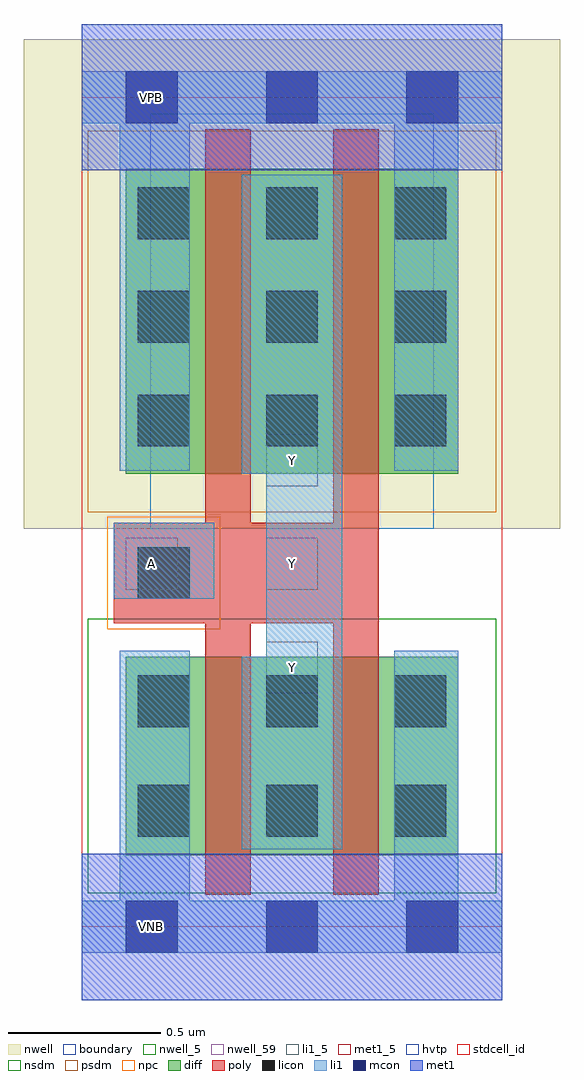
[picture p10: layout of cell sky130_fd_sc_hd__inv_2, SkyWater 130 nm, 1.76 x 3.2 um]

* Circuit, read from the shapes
.subckt sky130_fd_sc_hd__inv_2 A VGND VNB VPB VPWR Y
XM1 Y A VGND VNB sky130_fd_pr__nfet_01v8 w=0.65 l=0.15 m=2
XM2 Y A VPWR VPB sky130_fd_pr__pfet_01v8_hvt w=1 l=0.15 m=2
.ends

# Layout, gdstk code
import gdstk
lib = gdstk.Library(unit=1e-6, precision=1e-09)
def R(c, l, rs):  # rectangles x0, y0, x1, y1
    for r in rs: c.add(gdstk.rectangle(r[:2], r[2:], *l))
def A(c, l, x, y, w, h, nx, ny, dx, dy):  # array of equal rectangles
    R(c, l, [(x+i*dx, y+j*dy, x+i*dx+w, y+j*dy+h) for i in range(nx) for j in range(ny)])
nwell_5 = (64, 5)
nwell = (64, 20)
nwell_59 = (64, 59)
diff = (65, 20)
poly = (66, 20)
licon = (66, 44)
li1_5 = (67, 5)
li1 = (67, 20)
mcon = (67, 44)
met1_5 = (68, 5)
met1 = (68, 20)
hvtp = (78, 44)
stdcell_id = (81, 4)
nsdm = (93, 44)
psdm = (94, 20)
npc = (95, 20)
boundary = (235, 4)

sky130_fd_sc_hd__inv_2 = lib.new_cell('sky130_fd_sc_hd__inv_2')
R(sky130_fd_sc_hd__inv_2, nwell_5, [(0.145,2.635,0.315,2.805)])
R(sky130_fd_sc_hd__inv_2, nwell, [(-0.19,1.305,1.57,2.91)])
R(sky130_fd_sc_hd__inv_2, nwell_59, [(0.145,-0.085,0.315,0.085)])
R(sky130_fd_sc_hd__inv_2, diff, [(0.145,0.235,1.235,0.885), (0.145,1.485,1.235,2.485)])
R(sky130_fd_sc_hd__inv_2, poly, [(0.405,0.105,0.555,0.995), (0.825,0.105,0.975,0.995), (0.105,0.995,0.975,1.325), (0.405,1.325,0.555,2.615), (0.825,1.325,0.975,2.615)])
A(sky130_fd_sc_hd__inv_2, licon, 0.185, 0.295, 0.17, 0.17, 3, 2, 0.42, 0.36)
A(sky130_fd_sc_hd__inv_2, licon, 0.185, 1.575, 0.17, 0.17, 3, 3, 0.42, 0.34)
R(sky130_fd_sc_hd__inv_2, licon, [(0.185,1.075,0.355,1.245)])
A(sky130_fd_sc_hd__inv_2, li1_5, 0.605, 0.765, 0.17, 0.17, 1, 3, 0, 0.34)
R(sky130_fd_sc_hd__inv_2, li1_5, [(0.145,1.105,0.315,1.275)])
R(sky130_fd_sc_hd__inv_2, li1, [(0,-0.085,1.38,0.085), (0.125,0.085,0.355,0.905), (1.025,0.085,1.235,0.905), (0.525,0.255,0.855,0.885), (0.605,0.885,0.855,1.485), (0.105,1.075,0.435,1.325), (0.525,1.485,0.855,2.465), (0.125,1.495,0.355,2.635), (1.025,1.495,1.235,2.635), (0,2.635,1.38,2.805)])
A(sky130_fd_sc_hd__inv_2, mcon, 0.145, -0.085, 0.17, 0.17, 3, 2, 0.46, 2.72)
R(sky130_fd_sc_hd__inv_2, met1_5, [(0.145,-0.085,0.315,0.085), (0.145,2.635,0.315,2.805)])
R(sky130_fd_sc_hd__inv_2, met1, [(0,-0.24,1.38,0.24), (0,2.48,1.38,2.96)])
R(sky130_fd_sc_hd__inv_2, hvtp, [(0.225,1.305,1.155,2.665)])
R(sky130_fd_sc_hd__inv_2, stdcell_id, [(0,0,1.38,2.72)])
R(sky130_fd_sc_hd__inv_2, nsdm, [(0.02,0.11,1.36,1.01)])
R(sky130_fd_sc_hd__inv_2, psdm, [(0.02,1.36,1.36,2.61)])
R(sky130_fd_sc_hd__inv_2, npc, [(0.085,0.975,0.455,1.345)])
R(sky130_fd_sc_hd__inv_2, boundary, [(0,0,1.38,2.72)])
sky130_fd_sc_hd__inv_2.add(gdstk.Label('A', (0.23,1.19), layer=67, texttype=5))
sky130_fd_sc_hd__inv_2.add(gdstk.Label('Y', (0.69,0.85), layer=67, texttype=5))
sky130_fd_sc_hd__inv_2.add(gdstk.Label('Y', (0.69,1.53), layer=67, texttype=5))
sky130_fd_sc_hd__inv_2.add(gdstk.Label('Y', (0.69,1.19), layer=67, texttype=5))
sky130_fd_sc_hd__inv_2.add(gdstk.Label('VPB', (0.23,2.72), layer=64, texttype=5))
sky130_fd_sc_hd__inv_2.add(gdstk.Label('VNB', (0.23,0), layer=64, texttype=59))
sky130_fd_sc_hd__inv_2.add(gdstk.Label('VPWR', (0.23,2.72), layer=68, texttype=5))
sky130_fd_sc_hd__inv_2.add(gdstk.Label('VGND', (0.23,0), layer=68, texttype=5))

lib.write_gds('sky130_fd_sc_hd__inv_2.gds')
